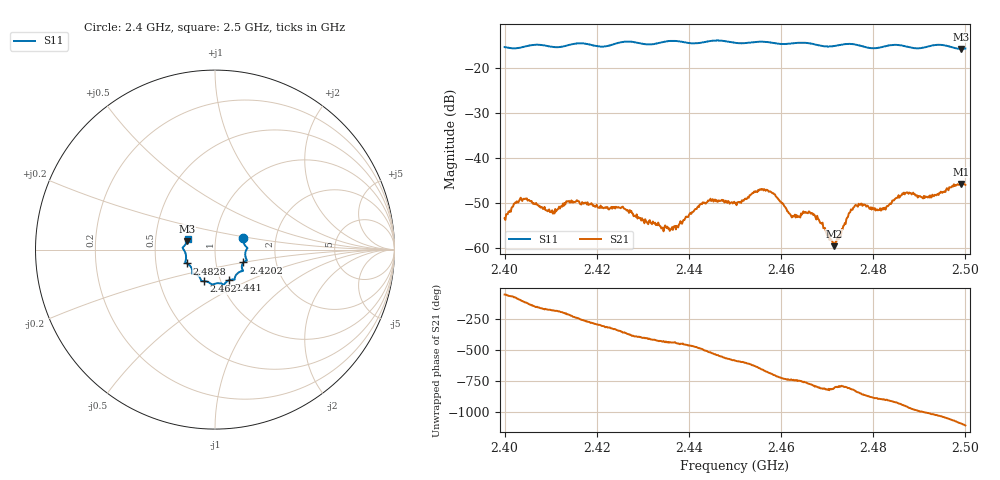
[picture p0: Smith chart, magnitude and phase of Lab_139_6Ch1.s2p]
# Hz S RI R 50
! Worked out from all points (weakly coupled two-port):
!   601 points, 2.4 GHz to 2.5 GHz, reference 50 ohm
!   highest |S21| = -45.70 dB at 2.499 GHz (marker M1); lowest = -59.5 dB at 2.4715 GHz (marker M2)
!   lowest |S11| = -15.8 dB at 2.499 GHz (marker M3), VSWR 1.39, Z = 36.4 + j3.49 ohm
!   |S11| at or under -10 dB: start of sweep to end of sweep
!   S12 and S22 are empty: the file has one direction only
!   S11 on the Smith chart (normalised r, x): 2.4 GHz: 1.36, +0.18; 2.4202 GHz: 1.36, -0.20; 2.441 GHz: 1.10, -0.39; 2.462 GHz: 0.84, -0.30; 2.4828 GHz: 0.72, -0.11; 2.5 GHz: 0.73, +0.09
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2.4e9  0.1582 0.0626  0.00124 -0.00176  0 0  0 0
2.403833e9  0.1688 0.0212  -0.000962 -0.00321  0 0  0 0
2.410333e9  0.171 -0.00963  -0.00264 0.000108  0 0  0 0
2.416667e9  0.1775 -0.0605  -0.000698 0.00298  0 0  0 0
2.420167e9  0.1584 -0.0714  0.00118 0.0026  0 0  0 0
2.425833e9  0.1559 -0.1167  0.00278 -1.55e-06  0 0  0 0
2.433333e9  0.1119 -0.1511  0.000758 -0.00178  0 0  0 0
2.436333e9  0.1089 -0.1673  0.000296 -0.00169  0 0  0 0
2.441e9  0.0787 -0.1698  -0.000944 -0.00239  0 0  0 0
2.444667e9  0.0534 -0.1917  -0.00332 -0.00127  0 0  0 0
2.45e9  0.0282 -0.1877  -0.00221 0.00228  0 0  0 0
2.4565e9  -0.0178 -0.1941  0.00274 0.00349  0 0  0 0
2.462e9  -0.0603 -0.1758  0.00223 -0.000805  0 0  0 0
2.466667e9  -0.0788 -0.168  0.00127 -0.00212  0 0  0 0
2.4715e9  -0.1092 -0.137  6.71e-05 -0.00106  0 0  0 0
2.476e9  -0.1271 -0.1307  -0.000865 -0.00283  0 0  0 0
2.482833e9  -0.1574 -0.0769  -0.00287 -1.75e-05  0 0  0 0
2.483333e9  -0.1605 -0.0753  -0.00298 0.000298  0 0  0 0
2.486833e9  -0.1633 -0.0613  -0.00268 0.00293  0 0  0 0
2.492167e9  -0.1743 -0.00077  0.00124 0.00345  0 0  0 0
2.499e9  -0.1556 0.0467  0.00511 -0.000874  0 0  0 0
2.5e9  -0.1523 0.0608  0.0045 -0.00228  0 0  0 0
